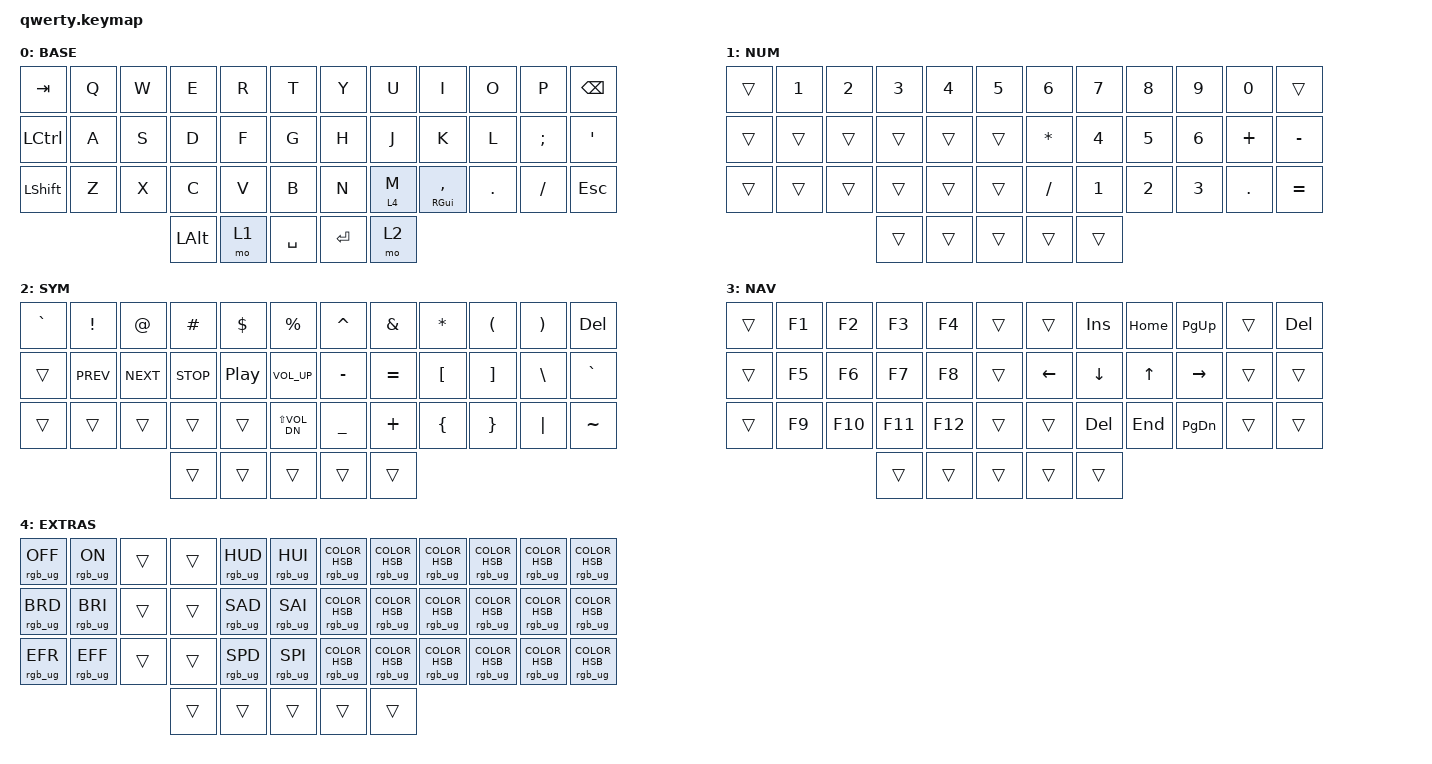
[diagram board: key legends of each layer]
/* upstream bindings and behaviors */
#include <behaviors.dtsi>
#include <dt-bindings/zmk/bt.h>
#include <dt-bindings/zmk/keys.h>
#include <dt-bindings/zmk/mouse.h>
#include <dt-bindings/zmk/outputs.h>
#include <behaviors/mouse_keys.dtsi>
#include <dt-bindings/zmk/ext_power.h>
#include <dt-bindings/zmk/rgb.h>

/* local overlays */
#include "macros.dtsi"
#include "behaviors.dtsi"
#include "combos.dtsi"

/ {
/* --- KEYMAP CONFIG --- */
// ╭──────┬──────┬──────┬──────┬──────┬──────╮  ╭──────┬──────┬──────┬──────┬──────┬──────╮
//    00     01     02     03    04      05        06     07     08     09     10     11
// ├──────┼──────┼──────┼──────┼──────┼──────┤  ├──────┼──────┼──────┼──────┼──────┼──────┤
//    12     13     14     15    16      17        18     19     20     21     22     23
// ├──────┼──────┼──────┼──────┼──────┼──────┤  ├──────┼──────┼──────┼──────┼──────┼──────┤
//    24     25     26     27    28      29        30     31     32     33     34     35
// ╰──────┴──────┴──────┼──────┼──────┼──────┤  ├──────┼──────┼──────┴──────┴──────┴──────╯
//                         36     37     38        39     40
//                      ╰──────┴──────┴──────╯  ╰──────┴──────╯
// #define BASE    0
// #define NUM     1
// #define NAV     2
// #define SYM     3
// #define GAME    4
// #define EXTRAS  5
// #define SLOW    6
// #define SCROLL  7

    conditional_layers {
        compatible = "zmk,conditional-layers";

        tri_layer {
            if-layers = <1 2>;
            then-layer = <3>;
        };
    };

    combos {
        compatible = "zmk,combos";

        EXTRAS_combo {
            bindings = <&mo 4>;
            key-positions = <36 40>;
        };
    };

    keymap {
        compatible = "zmk,keymap";

        BASE {
            bindings = <
&kp TAB     &kp Q  &kp W  &kp E         &kp R  &kp T        &kp Y    &kp U      &kp I                       &kp O    &kp P     &kp BSPC
&kp LCTRL   &kp A  &kp S  &kp D         &kp F  &kp G        &kp H    &kp J      &kp K                       &kp L    &kp SEMI  &kp SQT
&kp LSHIFT  &kp Z  &kp X  &kp C         &kp V  &kp B        &kp N    &lt 4 M    &ht_right RIGHT_GUI COMMA   &kp DOT  &kp FSLH  &kp ESC
                          &kp LEFT_ALT  &mo 1  &kp SPACE    &kp RET  &mo 2
            >;
        };

        NUM {
            bindings = <
&trans  &kp N1  &kp N2  &kp N3  &kp N4  &kp N5    &kp N6        &kp N7  &kp N8  &kp N9  &kp N0    &trans
&trans  &trans  &trans  &trans  &trans  &trans    &kp ASTERISK  &kp N4  &kp N5  &kp N6  &kp PLUS  &kp MINUS
&trans  &trans  &trans  &trans  &trans  &trans    &kp FSLH      &kp N1  &kp N2  &kp N3  &kp DOT   &kp EQUAL
                        &trans  &trans  &trans    &trans        &trans
            >;
        };

        SYM {
            bindings = <
&kp GRAVE  &kp EXCL    &kp AT      &kp HASH    &kp DLLR          &kp PRCNT           &kp CARET  &kp AMPS   &kp ASTRK  &kp LPAR  &kp RPAR  &kp DEL
&trans     &kp C_PREV  &kp C_NEXT  &kp C_STOP  &kp C_PLAY_PAUSE  &kp C_VOL_UP        &kp MINUS  &kp EQUAL  &kp LBKT   &kp RBKT  &kp BSLH  &kp GRAVE
&trans     &trans      &trans      &trans      &trans            &kp LS(C_VOL_DN)    &kp UNDER  &kp PLUS   &kp LBRC   &kp RBRC  &kp PIPE  &kp TILDE
                                   &trans      &trans            &trans              &trans     &trans
            >;
        };

        NAV {
            bindings = <
&trans  &kp F1  &kp F2   &kp F3   &kp F4   &trans    &trans    &kp INSERT  &kp HOME  &kp PAGE_UP    &trans  &kp DEL
&trans  &kp F5  &kp F6   &kp F7   &kp F8   &trans    &kp LEFT  &kp DOWN    &kp UP    &kp RIGHT      &trans  &trans
&trans  &kp F9  &kp F10  &kp F11  &kp F12  &trans    &trans    &kp DEL     &kp END   &kp PAGE_DOWN  &trans  &trans
                         &trans   &trans   &trans    &trans    &trans
            >;
        };

        EXTRAS {
            bindings = <
&rgb_ug RGB_OFF  &rgb_ug RGB_ON   &trans  &trans     &rgb_ug RGB_HUD  &rgb_ug RGB_HUI    &rgb_ug RGB_COLOR_HSB(0,100,75)   &rgb_ug RGB_COLOR_HSB(65,100,75)  &rgb_ug RGB_COLOR_HSB(120,100,75)  &rgb_ug RGB_COLOR_HSB(180,100,75)  &rgb_ug RGB_COLOR_HSB(240,100,75)  &rgb_ug RGB_COLOR_HSB(302,100,75)
&rgb_ug RGB_BRD  &rgb_ug RGB_BRI  &trans  &trans     &rgb_ug RGB_SAD  &rgb_ug RGB_SAI    &rgb_ug RGB_COLOR_HSB(21,100,50)  &rgb_ug RGB_COLOR_HSB(81,100,50)  &rgb_ug RGB_COLOR_HSB(138,100,50)  &rgb_ug RGB_COLOR_HSB(196,100,50)  &rgb_ug RGB_COLOR_HSB(255,100,50)  &rgb_ug RGB_COLOR_HSB(324,100,50)
&rgb_ug RGB_EFR  &rgb_ug RGB_EFF  &trans  &trans     &rgb_ug RGB_SPD  &rgb_ug RGB_SPI    &rgb_ug RGB_COLOR_HSB(43,100,25)  &rgb_ug RGB_COLOR_HSB(77,100,25)  &rgb_ug RGB_COLOR_HSB(153,100,25)  &rgb_ug RGB_COLOR_HSB(207,100,25)  &rgb_ug RGB_COLOR_HSB(266,100,25)  &rgb_ug RGB_COLOR_HSB(334,100,25)
                                          &trans     &trans           &trans             &trans                            &trans
            >;
        };
    };
};
